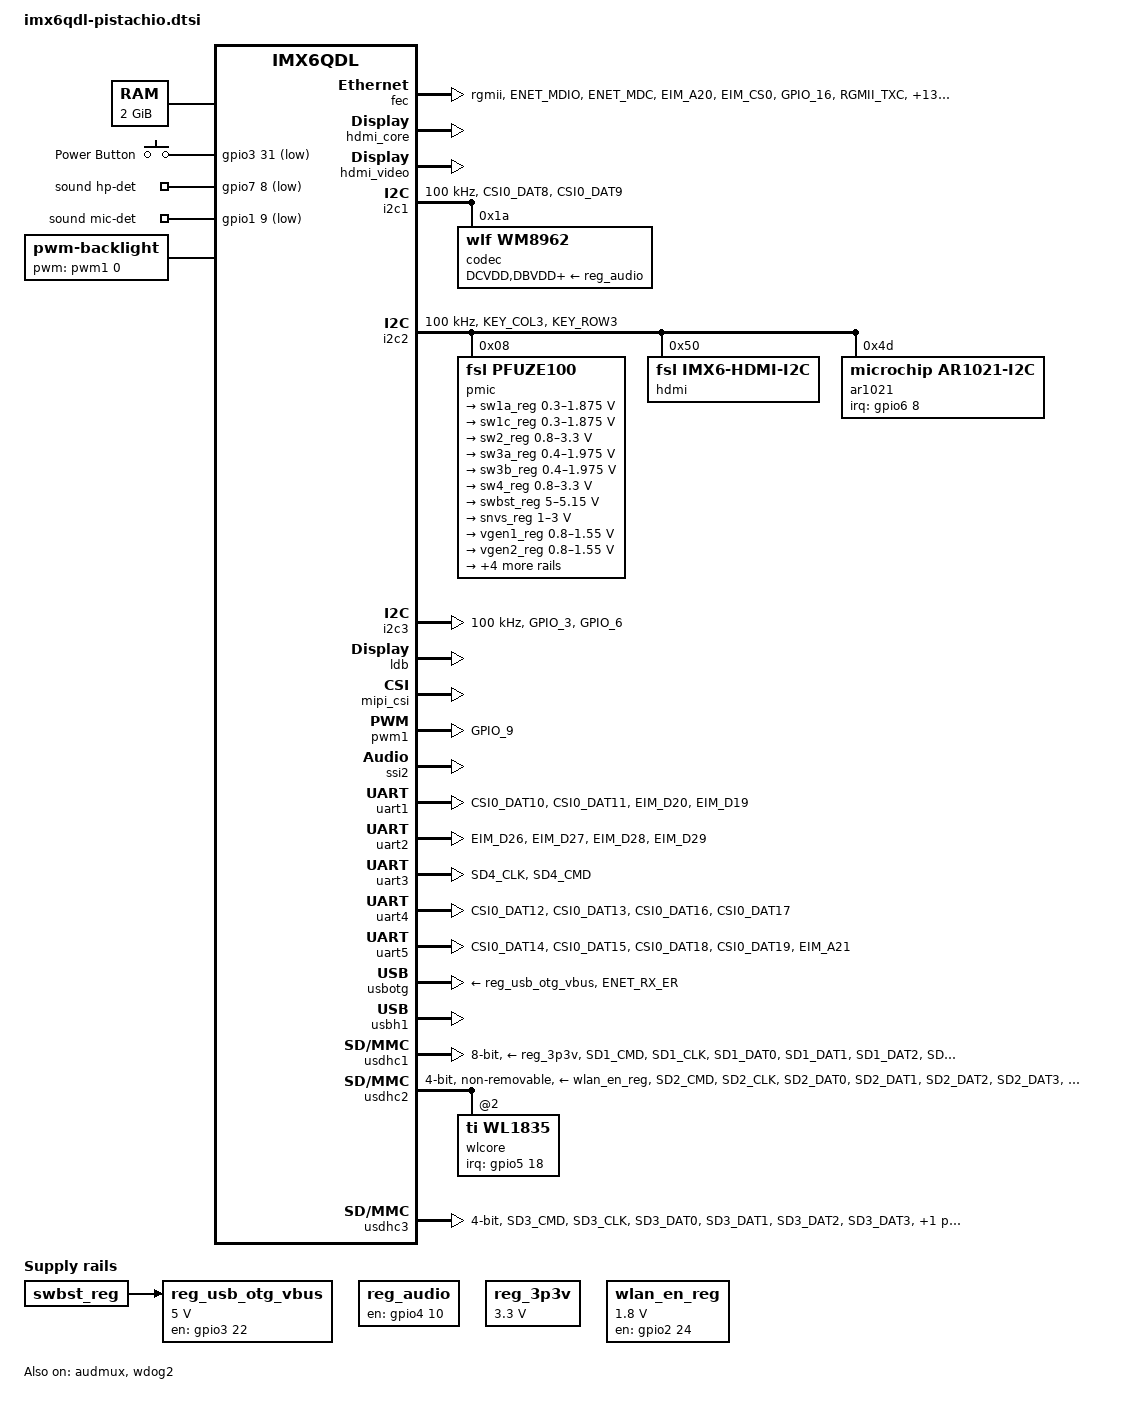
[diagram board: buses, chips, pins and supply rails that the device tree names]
/*
 * Copyright 2017 NutsBoard.Org
 * Copyright 2012-2015 Freescale Semiconductor, Inc.
 * Copyright 2011 Linaro Ltd.
 *
 * The code contained herein is licensed under the GNU General Public
 * License. You may obtain a copy of the GNU General Public License
 * Version 2 or later at the following locations:
 *
 * http://www.opensource.org/licenses/gpl-license.html
 * http://www.gnu.org/copyleft/gpl.html
 */

#include <dt-bindings/gpio/gpio.h>
#include <dt-bindings/input/input.h>

/ {
	aliases {
		mxcfb0 = &mxcfb1;
		mxcfb1 = &mxcfb2;
		mxcfb2 = &mxcfb3;
		mxcfb3 = &mxcfb4;
	};

	chosen {
		stdout-path = &uart4;
	};

	memory: memory {
		reg = <0x10000000 0x80000000>;
	};

	regulators {
		compatible = "simple-bus";
		#address-cells = <1>;
		#size-cells = <0>;


		reg_audio: regulator@0 {
			compatible = "regulator-fixed";
			reg = <0>;
			regulator-name = "wm8962-supply";
			gpio = <&gpio4 10 0>;
			enable-active-high;
		};

		reg_3p3v: regulator@1 {
			compatible = "regulator-fixed";
			reg = <1>;
			regulator-name = "3P3V";
			regulator-min-microvolt = <3300000>;
			regulator-max-microvolt = <3300000>;
			regulator-always-on;
		};

		wlan_en_reg: regulator@2 {
			compatible = "regulator-fixed";
			reg = <2>;
			regulator-name = "wlan-en-regulator";
			regulator-min-microvolt = <1800000>;
			regulator-max-microvolt = <1800000>;

			/* WLAN_EN GPIO for pistachio*/
			gpio = <&gpio2 24 0>;
			/* WLAN card specific delay */
			startup-delay-us = <70000>;
			enable-active-high;
		};

		reg_usb_otg_vbus: regulator@3 {
			compatible = "regulator-fixed";
			reg = <3>;
			regulator-name = "usb_otg_vbus";
			regulator-min-microvolt = <5000000>;
			regulator-max-microvolt = <5000000>;
			gpio = <&gpio3 22 0>;
			enable-active-high;
			vin-supply = <&swbst_reg>;
			};
	};

	gpio-keys {
		compatible = "gpio-keys";
		pinctrl-names = "default";
		pinctrl-0 = <&pinctrl_gpio_keys>;

		power {
			label = "Power Button";
			gpios = <&gpio3 31 GPIO_ACTIVE_LOW>;
			gpio-key,wakeup;
			linux,code = <KEY_POWER>;
		};

	};

	btwilink {
		compatible = "btwilink";
	};

	kim {
		compatible = "kim";
		nshutdown_gpio = <49>;
		dev_name = "/dev/ttymxc4";
		flow_cntrl = <1>;
		baud_rate = <921600>;
	};

	sound {
		compatible = "fsl,imx6q-sabresd-wm8962",
			   "fsl,imx-audio-wm8962";
		model = "wm8962-audio";
		cpu-dai = <&ssi2>;
		audio-codec = <&codec>;
		asrc-controller = <&asrc>;
		audio-routing =
			"Headphone Jack", "HPOUTL",
			"Headphone Jack", "HPOUTR",
			"Ext Spk", "SPKOUTL",
			"Ext Spk", "SPKOUTR",
			"AMIC", "MICBIAS",
			"IN3R", "AMIC",
			"DMIC", "MICBIAS",
			"DMICDAT", "DMIC",
			"CPU-Playback", "ASRC-Playback",
			"Playback", "CPU-Playback",
			"ASRC-Capture", "CPU-Capture",
			"CPU-Capture", "Capture";
		mux-int-port = <2>;
		mux-ext-port = <3>;
		hp-det-gpios = <&gpio7 8 1>;
		mic-det-gpios = <&gpio1 9 1>;
	};

	mxcfb1: fb@0 {
		compatible = "fsl,mxc_sdc_fb";
		disp_dev = "ldb";
		interface_pix_fmt = "RGB666";
		default_bpp = <16>;
		int_clk = <0>;
		late_init = <0>;
		status = "disabled";
	};

	mxcfb2: fb@1 {
		compatible = "fsl,mxc_sdc_fb";
		disp_dev = "hdmi";
		interface_pix_fmt = "RGB24";
		mode_str ="1920x1080M@60";
		default_bpp = <24>;
		int_clk = <0>;
		late_init = <0>;
		status = "disabled";
	};

	mxcfb3: fb@2 {
		compatible = "fsl,mxc_sdc_fb";
		disp_dev = "lcd";
		interface_pix_fmt = "RGB565";
		mode_str ="CLAA-WVGA";
		default_bpp = <16>;
		int_clk = <0>;
		late_init = <0>;
		status = "disabled";
	};

	mxcfb4: fb@3 {
		compatible = "fsl,mxc_sdc_fb";
		disp_dev = "ldb";
		interface_pix_fmt = "RGB666";
		default_bpp = <16>;
		int_clk = <0>;
		late_init = <0>;
		status = "disabled";
	};

	lcd@0 {
		compatible = "fsl,lcd";
		ipu_id = <0>;
		disp_id = <0>;
		default_ifmt = "RGB565";
		pinctrl-names = "default";
		pinctrl-0 = <&pinctrl_ipu1>;
		status = "okay";
	};

	backlight {
		compatible = "pwm-backlight";
		pwms = <&pwm1 0 5000000>;
		brightness-levels = <0 4 8 16 32 64 128 255>;
		default-brightness-level = <7>;
		status = "okay";
	};

	v4l2_cap_0 {
		compatible = "fsl,imx6q-v4l2-capture";
		ipu_id = <0>;
		csi_id = <0>;
		mclk_source = <0>;
		status = "okay";
	};

	v4l2_out {
		compatible = "fsl,mxc_v4l2_output";
		status = "okay";
	};
};

&audmux {
	pinctrl-names = "default";
	pinctrl-0 = <&pinctrl_audmux>;
	status = "okay";
};

&cpu0 {
	arm-supply = <&sw1a_reg>;
	soc-supply = <&sw1c_reg>;
};

&clks {
	fsl,ldb-di0-parent = <&clks IMX6QDL_CLK_PLL2_PFD0_352M>;
	fsl,ldb-di1-parent = <&clks IMX6QDL_CLK_PLL2_PFD0_352M>;
};

&fec {
	pinctrl-names = "default";
	pinctrl-0 = <&pinctrl_enet>;
	phy-mode = "rgmii";
	phy-reset-duration = <2>;
	phy-reset-gpios = <&gpio2 18 0>;
	status = "okay";
};

&gpc {
	fsl,ldo-bypass = <1>;
};

&hdmi_core {
	ipu_id = <0>;
	disp_id = <0>;
	status = "okay";
};

&hdmi_video {
	fsl,phy_reg_vlev = <0x0294>;
	fsl,phy_reg_cksymtx = <0x800d>;
	status = "okay";
};

&i2c1 {
	clock-frequency = <100000>;
	pinctrl-names = "default";
	pinctrl-0 = <&pinctrl_i2c1>;
	status = "okay";

	codec: wm8962@1a {
		compatible = "wlf,wm8962";
		reg = <0x1a>;
		clocks = <&clks IMX6QDL_CLK_CKO>;
		DCVDD-supply = <&reg_audio>;
		DBVDD-supply = <&reg_audio>;
		AVDD-supply = <&reg_audio>;
		CPVDD-supply = <&reg_audio>;
		MICVDD-supply = <&reg_audio>;
		PLLVDD-supply = <&reg_audio>;
		SPKVDD1-supply = <&reg_audio>;
		SPKVDD2-supply = <&reg_audio>;
		gpio-cfg = <
			0x0000 /* 0:Default */
			0x0000 /* 1:Default */
			0x0013 /* 2:FN_DMICCLK */
			0x0000 /* 3:Default */
			0x8014 /* 4:FN_DMICCDAT */
			0x0000 /* 5:Default */
		>;
		amic-mono;
       };
};

&i2c2 {
	clock-frequency = <100000>;
	pinctrl-names = "default";
	pinctrl-0 = <&pinctrl_i2c2>;
	status = "okay";

	pmic: pfuze100@08 {
		compatible = "fsl,pfuze100";
		reg = <0x08>;

		regulators {
			sw1a_reg: sw1ab {
				regulator-min-microvolt = <300000>;
				regulator-max-microvolt = <1875000>;
				regulator-boot-on;
				regulator-always-on;
				regulator-ramp-delay = <6250>;
			};

			sw1c_reg: sw1c {
				regulator-min-microvolt = <300000>;
				regulator-max-microvolt = <1875000>;
				regulator-boot-on;
				regulator-always-on;
				regulator-ramp-delay = <6250>;
			};

			sw2_reg: sw2 {
				regulator-min-microvolt = <800000>;
				regulator-max-microvolt = <3300000>;
				regulator-boot-on;
				regulator-always-on;
				regulator-ramp-delay = <6250>;
			};

			sw3a_reg: sw3a {
				regulator-min-microvolt = <400000>;
				regulator-max-microvolt = <1975000>;
				regulator-boot-on;
				regulator-always-on;
			};

			sw3b_reg: sw3b {
				regulator-min-microvolt = <400000>;
				regulator-max-microvolt = <1975000>;
				regulator-boot-on;
				regulator-always-on;
			};

			sw4_reg: sw4 {
				regulator-min-microvolt = <800000>;
				regulator-max-microvolt = <3300000>;
			};

			swbst_reg: swbst {
				regulator-min-microvolt = <5000000>;
				regulator-max-microvolt = <5150000>;
			};

			snvs_reg: vsnvs {
				regulator-min-microvolt = <1000000>;
				regulator-max-microvolt = <3000000>;
				regulator-boot-on;
				regulator-always-on;
			};

			vref_reg: vrefddr {
				regulator-boot-on;
				regulator-always-on;
			};

			vgen1_reg: vgen1 {
				regulator-min-microvolt = <800000>;
				regulator-max-microvolt = <1550000>;
			};

			vgen2_reg: vgen2 {
				regulator-min-microvolt = <800000>;
				regulator-max-microvolt = <1550000>;
			};

			vgen3_reg: vgen3 {
				regulator-min-microvolt = <1800000>;
				regulator-max-microvolt = <3300000>;
			};

			vgen4_reg: vgen4 {
				regulator-min-microvolt = <1800000>;
				regulator-max-microvolt = <3300000>;
				regulator-always-on;
			};

			vgen5_reg: vgen5 {
				regulator-min-microvolt = <1800000>;
				regulator-max-microvolt = <3300000>;
				regulator-always-on;
			};
			vgen6_reg: vgen6 {
				regulator-min-microvolt = <1800000>;
				regulator-max-microvolt = <3300000>;
				regulator-always-on;
			};

		};
	};

	hdmi: edid@50 {
		compatible = "fsl,imx6-hdmi-i2c";
		reg = <0x50>;
	};

	ar1021@4d {
		compatible = "microchip,ar1021-i2c";
		reg = <0x4d>;
		interrupt-parent = <&gpio6>;
		interrupts = <8 0x2>;
	};
};

&i2c3 {
	clock-frequency = <100000>;
	pinctrl-names = "default";
	pinctrl-0 = <&pinctrl_i2c3>;
	status = "okay";

};

&iomuxc {
	pinctrl-names = "default";
	pinctrl-0 = <&pinctrl_hog>;

	imx6qdl-pistachio {
		pinctrl_hog: hoggrp {
			fsl,pins = <
				MX6QDL_PAD_GPIO_0__CCM_CLKO1    0x130b0
				MX6QDL_PAD_EIM_D22__GPIO3_IO22  0x80000000  /*pcie power*/
				MX6QDL_PAD_EIM_A25__GPIO5_IO02 0x80000000   /*LCD power*/
				MX6QDL_PAD_EIM_D16__GPIO3_IO16 0x80000000   /*backlight power*/
				MX6QDL_PAD_SD3_RST__GPIO7_IO08	0x80000000  /*headphone det*/
				MX6QDL_PAD_GPIO_2__GPIO1_IO02    0x80000000 /*SD3 CD pin*/
				MX6QDL_PAD_KEY_COL2__GPIO4_IO10	0x80000000 /*codec power*/
				MX6QDL_PAD_EIM_A16__GPIO2_IO22	0x80000000 /*touch reset*/
				MX6QDL_PAD_NANDF_ALE__GPIO6_IO08	0x1b0b0 /*touch irq*/
				MX6QDL_PAD_GPIO_7__GPIO1_IO07	0x80000000 /*backlight pwr*/
			>;
		};

		pinctrl_audmux: audmuxgrp {
			fsl,pins = <
				MX6QDL_PAD_CSI0_DAT7__AUD3_RXD		0x130b0
				MX6QDL_PAD_CSI0_DAT4__AUD3_TXC		0x130b0
				MX6QDL_PAD_CSI0_DAT5__AUD3_TXD		0x110b0
				MX6QDL_PAD_CSI0_DAT6__AUD3_TXFS		0x130b0
			>;
		};

		pinctrl_ecspi1: ecspi1grp {
			fsl,pins = <
				MX6QDL_PAD_KEY_COL1__ECSPI1_MISO	0x100b1
				MX6QDL_PAD_KEY_ROW0__ECSPI1_MOSI	0x100b1
				MX6QDL_PAD_KEY_COL0__ECSPI1_SCLK	0x100b1
				MX6QDL_PAD_KEY_ROW1__GPIO4_IO09		0x1b0b0
			>;
		};

		pinctrl_enet: enetgrp {
			fsl,pins = <
				MX6QDL_PAD_ENET_MDIO__ENET_MDIO		0x1b8b0
				MX6QDL_PAD_ENET_MDC__ENET_MDC		0x1b0b0
			/* AR8035 reset */
				MX6QDL_PAD_EIM_A20__GPIO2_IO18		0x130b0
				/* AR8035 interrupt */
				MX6QDL_PAD_EIM_CS0__GPIO2_IO23		0x80000000
				/* GPIO16 -> AR8035 25MHz */
				MX6QDL_PAD_GPIO_16__ENET_REF_CLK	0xc0000000
				MX6QDL_PAD_RGMII_TXC__RGMII_TXC		0x80000000
				MX6QDL_PAD_RGMII_TD0__RGMII_TD0		0x1b030
				MX6QDL_PAD_RGMII_TD1__RGMII_TD1		0x1b030
				MX6QDL_PAD_RGMII_TD2__RGMII_TD2		0x1b030
				MX6QDL_PAD_RGMII_TD3__RGMII_TD3		0x1b030
				MX6QDL_PAD_RGMII_TX_CTL__RGMII_TX_CTL	0x1b030
				/* AR8035 CLK_25M --> ENET_REF_CLK (V22) */
				MX6QDL_PAD_ENET_REF_CLK__ENET_TX_CLK	0x0a0b1
				/* AR8035 pin strapping: IO voltage: pull up */
				MX6QDL_PAD_RGMII_RXC__RGMII_RXC		0x1b030
				/* AR8035 pin strapping: PHYADDR#0: pull down */
				MX6QDL_PAD_RGMII_RD0__RGMII_RD0		0x13030
				/* AR8035 pin strapping: PHYADDR#1: pull down */
				MX6QDL_PAD_RGMII_RD1__RGMII_RD1		0x13030
				/* AR8035 pin strapping: MODE#1: pull up */
				MX6QDL_PAD_RGMII_RD2__RGMII_RD2		0x1b030
				/* AR8035 pin strapping: MODE#3: pull up */
				MX6QDL_PAD_RGMII_RD3__RGMII_RD3		0x1b030
				/* AR8035 pin strapping: MODE#0: pull down */
				MX6QDL_PAD_RGMII_RX_CTL__RGMII_RX_CTL	0x13030
			>;
		};

		pinctrl_gpio_keys: gpio_keysgrp {
			fsl,pins = <
				MX6QDL_PAD_EIM_D31__GPIO3_IO31 0x1b0b0
			>;
		};

		pinctrl_hdmi_cec: hdmicecgrp {
			fsl,pins = <
				MX6QDL_PAD_KEY_ROW2__HDMI_TX_CEC_LINE 0x108b0
			>;
		};

		pinctrl_hdmi_hdcp: hdmihdcpgrp {
			fsl,pins = <
				MX6QDL_PAD_KEY_COL3__HDMI_TX_DDC_SCL 0x4001b8b1
				MX6QDL_PAD_KEY_ROW3__HDMI_TX_DDC_SDA 0x4001b8b1
			>;
		};

		pinctrl_i2c1: i2c1grp {
			fsl,pins = <
				MX6QDL_PAD_CSI0_DAT8__I2C1_SDA		0x4001b8b1
				MX6QDL_PAD_CSI0_DAT9__I2C1_SCL		0x4001b8b1
			>;
		};

		pinctrl_i2c2: i2c2grp {
			fsl,pins = <
				MX6QDL_PAD_KEY_COL3__I2C2_SCL		0x4001b8b1
				MX6QDL_PAD_KEY_ROW3__I2C2_SDA		0x4001b8b1
			>;
		};

		pinctrl_i2c3: i2c3grp {
			fsl,pins = <
				MX6QDL_PAD_GPIO_3__I2C3_SCL		0x4001b8b1
				MX6QDL_PAD_GPIO_6__I2C3_SDA		0x4001b8b1
			>;
		};

		pinctrl_ipu1: ipu1grp {
			fsl,pins = <
				MX6QDL_PAD_DI0_DISP_CLK__IPU1_DI0_DISP_CLK 0x10
				MX6QDL_PAD_DI0_PIN15__IPU1_DI0_PIN15       0x10
				MX6QDL_PAD_DI0_PIN2__IPU1_DI0_PIN02        0x10
				MX6QDL_PAD_DI0_PIN3__IPU1_DI0_PIN03        0x10
				MX6QDL_PAD_DI0_PIN4__IPU1_DI0_PIN04        0x80000000
				MX6QDL_PAD_DISP0_DAT0__IPU1_DISP0_DATA00   0x10
				MX6QDL_PAD_DISP0_DAT1__IPU1_DISP0_DATA01   0x10
				MX6QDL_PAD_DISP0_DAT2__IPU1_DISP0_DATA02   0x10
				MX6QDL_PAD_DISP0_DAT3__IPU1_DISP0_DATA03   0x10
				MX6QDL_PAD_DISP0_DAT4__IPU1_DISP0_DATA04   0x10
				MX6QDL_PAD_DISP0_DAT5__IPU1_DISP0_DATA05   0x10
				MX6QDL_PAD_DISP0_DAT6__IPU1_DISP0_DATA06   0x10
				MX6QDL_PAD_DISP0_DAT7__IPU1_DISP0_DATA07   0x10
				MX6QDL_PAD_DISP0_DAT8__IPU1_DISP0_DATA08   0x10
				MX6QDL_PAD_DISP0_DAT9__IPU1_DISP0_DATA09   0x10
				MX6QDL_PAD_DISP0_DAT10__IPU1_DISP0_DATA10  0x10
				MX6QDL_PAD_DISP0_DAT11__IPU1_DISP0_DATA11  0x10
				MX6QDL_PAD_DISP0_DAT12__IPU1_DISP0_DATA12  0x10
				MX6QDL_PAD_DISP0_DAT13__IPU1_DISP0_DATA13  0x10
				MX6QDL_PAD_DISP0_DAT14__IPU1_DISP0_DATA14  0x10
				MX6QDL_PAD_DISP0_DAT15__IPU1_DISP0_DATA15  0x10
				MX6QDL_PAD_DISP0_DAT16__IPU1_DISP0_DATA16  0x10
				MX6QDL_PAD_DISP0_DAT17__IPU1_DISP0_DATA17  0x10
				MX6QDL_PAD_DISP0_DAT18__IPU1_DISP0_DATA18  0x10
				MX6QDL_PAD_DISP0_DAT19__IPU1_DISP0_DATA19  0x10
				MX6QDL_PAD_DISP0_DAT20__IPU1_DISP0_DATA20  0x10
				MX6QDL_PAD_DISP0_DAT21__IPU1_DISP0_DATA21  0x10
				MX6QDL_PAD_DISP0_DAT22__IPU1_DISP0_DATA22  0x10
				MX6QDL_PAD_DISP0_DAT23__IPU1_DISP0_DATA23  0x10
			>;
		};

		pinctrl_pwm1: pwm1grp {
			fsl,pins = <
				MX6QDL_PAD_GPIO_9__PWM1_OUT	    0x1b0b1
			>;
		};

		pinctrl_uart1: uart1grp {
			fsl,pins = <
				MX6QDL_PAD_CSI0_DAT10__UART1_RX_DATA	0x1b0b1
				MX6QDL_PAD_CSI0_DAT11__UART1_TX_DATA	0x1b0b1
				MX6QDL_PAD_EIM_D20__UART1_CTS_B	0x1b0b1
				MX6QDL_PAD_EIM_D19__UART1_RTS_B	0x1b0b1
			>;
		};

		pinctrl_uart2: uart2grp {
			fsl,pins = <
				MX6QDL_PAD_EIM_D26__UART2_TX_DATA	0x1b0b1
				MX6QDL_PAD_EIM_D27__UART2_RX_DATA	0x1b0b1
				MX6QDL_PAD_EIM_D28__UART2_CTS_B	0x1b0b1
				MX6QDL_PAD_EIM_D29__UART2_RTS_B	0x1b0b1
			>;
		};

		pinctrl_uart3: uart3grp {
			fsl,pins = <
				MX6QDL_PAD_SD4_CLK__UART3_RX_DATA	0x1b0b1
				MX6QDL_PAD_SD4_CMD__UART3_TX_DATA	0x1b0b1
			>;
		};

		pinctrl_uart4: uart4grp {
			fsl,pins = <
				MX6QDL_PAD_CSI0_DAT12__UART4_TX_DATA	0x1b0b1
				MX6QDL_PAD_CSI0_DAT13__UART4_RX_DATA	0x1b0b1
 				MX6QDL_PAD_CSI0_DAT16__UART4_RTS_B	0x1b0b1
				MX6QDL_PAD_CSI0_DAT17__UART4_CTS_B	0x1b0b1
			>;
		};


		pinctrl_uart5: uart5grp {
			fsl,pins = <
				MX6QDL_PAD_CSI0_DAT14__UART5_TX_DATA	0x1b0b1
				MX6QDL_PAD_CSI0_DAT15__UART5_RX_DATA	0x1b0b1
				MX6QDL_PAD_CSI0_DAT18__UART5_RTS_B	0x1b0b1
				MX6QDL_PAD_CSI0_DAT19__UART5_CTS_B	0x1b0b1
				MX6QDL_PAD_EIM_A21__GPIO2_IO17		 0x15059 /*BT_EN*/
			>;
		};

		pinctrl_usbotg: usbotggrp {
			fsl,pins = <
				MX6QDL_PAD_ENET_RX_ER__USB_OTG_ID	0x17059
			>;
		};

		pinctrl_usdhc1: usdhc1grp {
			fsl,pins = <
				MX6QDL_PAD_SD1_CMD__SD1_CMD		0x17059
				MX6QDL_PAD_SD1_CLK__SD1_CLK		0x10059
				MX6QDL_PAD_SD1_DAT0__SD1_DATA0		0x17059
				MX6QDL_PAD_SD1_DAT1__SD1_DATA1		0x17059
				MX6QDL_PAD_SD1_DAT2__SD1_DATA2		0x17059
				MX6QDL_PAD_SD1_DAT3__SD1_DATA3		0x17059
				MX6QDL_PAD_NANDF_D0__SD1_DATA4		0x17059
				MX6QDL_PAD_NANDF_D1__SD1_DATA5		0x17059
				MX6QDL_PAD_NANDF_D2__SD1_DATA6		0x17059
				MX6QDL_PAD_NANDF_D3__SD1_DATA7		0x17059
			>;
		};

		pinctrl_usdhc2: usdhc2grp {
			fsl,pins = <
				MX6QDL_PAD_SD2_CMD__SD2_CMD		0x17059
				MX6QDL_PAD_SD2_CLK__SD2_CLK		0x10059
				MX6QDL_PAD_SD2_DAT0__SD2_DATA0		0x17059
				MX6QDL_PAD_SD2_DAT1__SD2_DATA1		0x17059
				MX6QDL_PAD_SD2_DAT2__SD2_DATA2		0x17059
				MX6QDL_PAD_SD2_DAT3__SD2_DATA3		0x17059
				MX6QDL_PAD_EIM_RW__GPIO2_IO26			0x15059 /*WL_EN_LDO*/
				MX6QDL_PAD_EIM_CS1__GPIO2_IO24		0x15059 /*WL_EN*/
				MX6QDL_PAD_CSI0_PIXCLK__GPIO5_IO18	0x15059 /*WL_IRQ*/
			>;
		};

		pinctrl_usdhc3: usdhc3grp {
			fsl,pins = <
				MX6QDL_PAD_SD3_CMD__SD3_CMD		0x17071
				MX6QDL_PAD_SD3_CLK__SD3_CLK		0x10071
				MX6QDL_PAD_SD3_DAT0__SD3_DATA0		0x17071
				MX6QDL_PAD_SD3_DAT1__SD3_DATA1		0x17071
				MX6QDL_PAD_SD3_DAT2__SD3_DATA2		0x17071
				MX6QDL_PAD_SD3_DAT3__SD3_DATA3		0x17071
			>;
		};

		pinctrl_wdog: wdoggrp {
			fsl,pins = <
				MX6QDL_PAD_GPIO_1__WDOG2_B 0x80000000
			>;
		};
	};

};

&ldb {
	status = "okay";

	lvds-channel@0 {
	fsl,data-mapping = "spwg";
	fsl,data-width = <18>;
	status = "okay";

		display-timings {
			native-mode = <&timing0>;
			timing0: hsd100pxn1 {
				clock-frequency = <65000000>;
				hactive = <1024>;
				vactive = <768>;
				hback-porch = <220>;
				hfront-porch = <40>;
				vback-porch = <21>;
				vfront-porch = <7>;
				hsync-len = <60>;
				vsync-len = <10>;
			};
		};
	};

	lvds-channel@1 {
		fsl,data-mapping = "spwg";
		fsl,data-width = <18>;
		primary;
		status = "okay";

		display-timings {
			native-mode = <&timing1>;
			timing1: hsd100pxn1 {
				clock-frequency = <65000000>;
				hactive = <1024>;
				vactive = <600>;
				hback-porch = <220>;
				hfront-porch = <40>;
				vback-porch = <21>;
				vfront-porch = <7>;
				hsync-len = <60>;
				vsync-len = <10>;
			};
		};
	};
};

&mipi_csi {
	status = "okay";
	ipu_id = <0>;
	csi_id = <1>;
	v_channel = <0>;
	lanes = <2>;
};

&pwm1 {
	pinctrl-names = "default";
	pinctrl-0 = <&pinctrl_pwm1>;
	status = "okay";
};

&snvs_poweroff {
	status = "okay";
};

&ssi2 {
	status = "okay";
};

&uart1 {
	pinctrl-names = "default";
	pinctrl-0 = <&pinctrl_uart1>;
	fsl,uart-has-rtscts;
	fsl,dte-mode;
	status = "okay";
};

&uart2 {
	pinctrl-names = "default";
	pinctrl-0 = <&pinctrl_uart2>;
	fsl,uart-has-rtscts;
	status = "okay";
};

&uart3 {
	pinctrl-names = "default";
	pinctrl-0 = <&pinctrl_uart3>;
	status = "okay";
};

&uart4 {
	pinctrl-names = "default";
	pinctrl-0 = <&pinctrl_uart4>;
	fsl,uart-has-rtscts;
	status = "okay";
};

&uart5 {
	pinctrl-names = "default";
	pinctrl-0 = <&pinctrl_uart5>;
	fsl,uart-has-rtscts;
	status = "okay";
};

&usbotg {
	vbus-supply = <&reg_usb_otg_vbus>;
	pinctrl-names = "default";
	pinctrl-0 = <&pinctrl_usbotg>;
	disable-over-current;
	srp-disable;
	hnp-disable;
	adp-disable;
	status = "okay";
};


&usbh1 {
	status = "okay";
};

&usbphy1 {
	tx-d-cal = <0x5>;
};

&usbphy2 {
	tx-d-cal = <0x5>;
};

&usdhc1 {
	pinctrl-names = "default";
	pinctrl-0 = <&pinctrl_usdhc1>;
	bus-width = <8>;
	keep-power-in-suspend;
	vmmc-supply = <&reg_3p3v>;
	status = "okay";
};

&usdhc2 {
	pinctrl-names = "default";
	pinctrl-0 = <&pinctrl_usdhc2>;
	bus-width = <4>;
	vmmc-supply = <&wlan_en_reg>;
	no-1-8-v;
	pm-ignore-notify;
	keep-power-in-suspend;
  non-removable;
  cap-power-off-card;
	status = "okay";

	#address-cells = <1>;
	#size-cells = <0>;
	wlcore: wlcore@0 {
		compatible = "ti,wl1835";
		reg = <2>;
		interrupt-parent = <&gpio5>;
		interrupts = <18 IRQ_TYPE_EDGE_RISING>;
		ref-clock-frequency = <38400000>;
		tcxo-clock-frequency = <26000000>;
	};
};

&usdhc3 {
	pinctrl-names = "default";
	pinctrl-0 = <&pinctrl_usdhc3>;
	bus-width = <4>;
	cd-gpios = <&gpio1 2 GPIO_ACTIVE_LOW>;
	no-1-8-v;
	keep-power-in-suspend;
	enable-sdio-wakeup;
	status = "okay";
};

&wdog1 {
	status = "disabled";
};

&wdog2 {
	pinctrl-names = "default";
	pinctrl-0 = <&pinctrl_wdog>;
	fsl,wdog_b;
	status = "okay";
};
